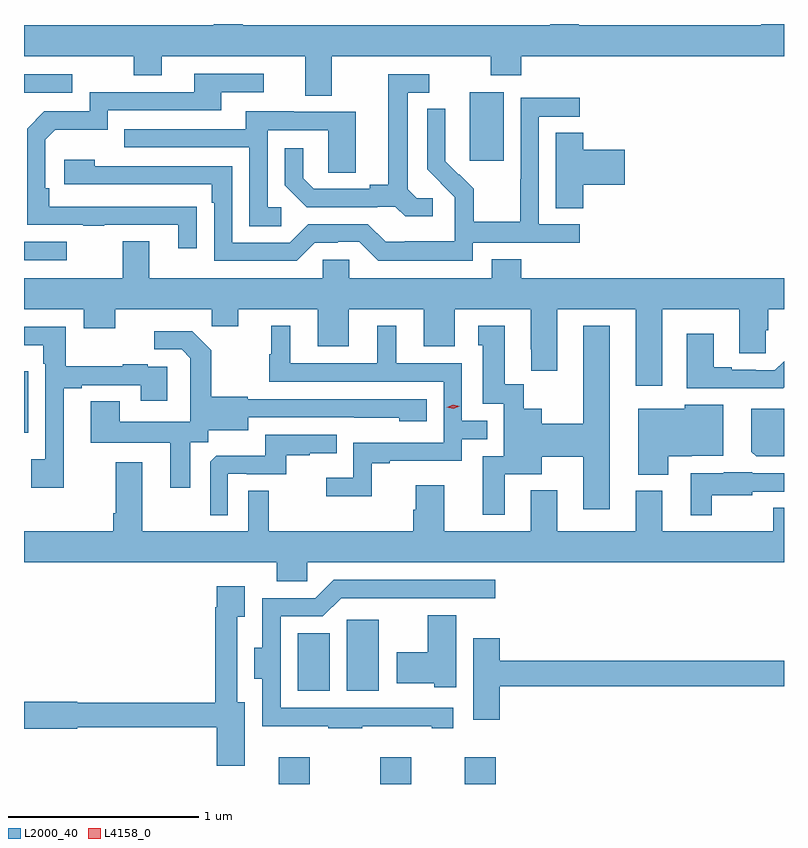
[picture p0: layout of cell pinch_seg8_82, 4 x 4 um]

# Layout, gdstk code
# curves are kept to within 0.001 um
import gdstk
lib = gdstk.Library(unit=1e-6, precision=1e-09)
def R(c, l, rs):  # rectangles x0, y0, x1, y1
    for r in rs: c.add(gdstk.rectangle(r[:2], r[2:], *l))
def P(c, l, *ps):  # polygons
    for p in ps: c.add(gdstk.Polygon(p, *l))
L2000_40 = (2000, 40)
L4158_0 = (4158, 0)

pinch_seg8_82 = lib.new_cell('pinch_seg8_82')
R(pinch_seg8_82, L2000_40, [(1116.275,1106.01,1116.439,1106.152), (1116.809,1106.01,1116.973,1106.152), (1117.253,1106.01,1117.417,1106.152), (1116.374,1106.501,1116.544,1106.803), (1116.632,1106.501,1116.802,1106.874), (1114.934,1107.858,1114.956,1108.183), (1114.934,1108.767,1115.158,1108.863), (1117.28,1109.289,1117.459,1109.65), (1114.934,1109.649,1115.188,1109.745)])
P(pinch_seg8_82, L2000_40, [(1118.934,1110.01),(1118.815,1110.01),(1118.815,1110.004),(1117.855,1110.004),(1117.855,1110.01),(1117.703,1110.01),(1117.703,1110.004),(1116.086,1110.004),(1116.086,1110.01),(1115.933,1110.01),(1115.933,1110.004),(1114.934,1110.004),(1114.934,1109.84),(1115.512,1109.84),(1115.512,1109.741),(1115.659,1109.741),(1115.659,1109.84),(1116.413,1109.84),(1116.413,1109.632),(1116.553,1109.632),(1116.553,1109.84),(1117.39,1109.84),(1117.39,1109.741),(1117.55,1109.741),(1117.55,1109.84),(1118.934,1109.84)],
  [(1115.843,1109.048),(1115.066,1109.049),(1115.066,1109.146),(1115.046,1109.146),(1115.046,1109.4),(1115.099,1109.453),(1115.376,1109.453),(1115.376,1109.556),(1115.971,1109.556),(1115.971,1109.652),(1116.196,1109.652),(1116.196,1109.748),(1115.831,1109.748),(1115.831,1109.652),(1115.28,1109.652),(1115.28,1109.55),(1115.04,1109.55),(1114.95,1109.46),(1114.95,1108.953),(1115.245,1108.953),(1115.245,1108.948),(1115.357,1108.948),(1115.357,1108.953),(1115.747,1108.953),(1115.747,1108.83),(1115.843,1108.83)],
  [(1117.084,1109.094),(1117.002,1109.094),(1116.955,1109.141),(1116.955,1109.649),(1117.066,1109.649),(1117.066,1109.745),(1116.851,1109.745),(1116.851,1109.165),(1116.755,1109.165),(1116.755,1109.142),(1116.46,1109.142),(1116.403,1109.199),(1116.403,1109.356),(1116.306,1109.356),(1116.306,1109.162),(1116.422,1109.046),(1116.794,1109.046),(1116.794,1109.049),(1116.888,1109.049),(1116.94,1108.997),(1117.084,1108.997)],
  [(1117.296,1108.86),(1117.858,1108.86),(1117.858,1108.956),(1117.644,1108.956),(1117.644,1109.523),(1117.858,1109.523),(1117.858,1109.622),(1117.548,1109.622),(1117.548,1109.192),(1117.546,1109.192),(1117.546,1108.969),(1117.301,1108.969),(1117.301,1109.143),(1117.224,1109.22),(1117.221,1109.217),(1117.151,1109.288),(1117.152,1109.564),(1117.056,1109.564),(1117.056,1109.246),(1117.202,1109.098),(1117.202,1109.001),(1117.2,1109.001),(1117.2,1108.867),(1116.937,1108.867),(1116.937,1108.863),(1116.837,1108.863),(1116.744,1108.956),(1116.429,1108.956),(1116.333,1108.86),(1116.03,1108.86),(1116.03,1109.262),(1115.306,1109.262),(1115.306,1109.296),(1115.145,1109.296),(1115.145,1109.166),(1115.921,1109.166),(1115.921,1109.069),(1115.934,1109.069),(1115.934,1108.764),(1116.369,1108.764),(1116.465,1108.86),(1116.584,1108.86),(1116.584,1108.863),(1116.699,1108.863),(1116.799,1108.763),(1117.296,1108.763)],
  [(1116.289,1109.046),(1116.216,1109.046),(1116.216,1109.451),(1116.534,1109.451),(1116.534,1109.227),(1116.679,1109.227),(1116.679,1109.547),(1116.355,1109.547),(1116.355,1109.551),(1116.101,1109.551),(1116.101,1109.457),(1115.461,1109.457),(1115.461,1109.361),(1116.12,1109.361),(1116.12,1108.945),(1116.289,1108.945)],
  [(1117.877,1109.165),(1118.095,1109.165),(1118.095,1109.348),(1117.877,1109.348),(1117.877,1109.438),(1117.733,1109.438),(1117.733,1109.041),(1117.877,1109.041)],
  [(1118.293,1108.508),(1118.699,1108.508),(1118.699,1108.276),(1118.838,1108.276),(1118.838,1108.398),(1118.852,1108.398),(1118.852,1108.508),(1118.934,1108.508),(1118.934,1108.672),(1117.55,1108.672),(1117.55,1108.771),(1117.397,1108.771),(1117.397,1108.672),(1116.645,1108.672),(1116.645,1108.77),(1116.507,1108.77),(1116.507,1108.672),(1115.593,1108.672),(1115.593,1108.867),(1115.453,1108.867),(1115.453,1108.672),(1114.934,1108.672),(1114.934,1108.508),(1115.249,1108.508),(1115.249,1108.409),(1115.413,1108.409),(1115.413,1108.508),(1115.923,1108.508),(1115.923,1108.418),(1116.061,1108.418),(1116.061,1108.508),(1116.479,1108.508),(1116.479,1108.314),(1116.643,1108.314),(1116.643,1108.508),(1117.037,1108.508),(1117.037,1108.314),(1117.201,1108.314),(1117.201,1108.508),(1117.601,1108.508),(1117.601,1108.297),(1117.604,1108.297),(1117.604,1108.185),(1117.741,1108.185),(1117.741,1108.508),(1118.153,1108.508),(1118.153,1108.107),(1118.293,1108.107)],
  [(1117.465,1107.641),(1117.66,1107.641),(1117.66,1107.733),(1117.877,1107.733),(1117.877,1107.456),(1118.017,1107.456),(1118.017,1108.423),(1117.877,1108.423),(1117.877,1107.905),(1117.66,1107.905),(1117.66,1107.985),(1117.563,1107.985),(1117.563,1108.115),(1117.465,1108.115),(1117.465,1108.423),(1117.325,1108.423),(1117.325,1108.32),(1117.349,1108.32),(1117.349,1108.011),(1117.458,1108.011),(1117.458,1107.735),(1117.349,1107.735),(1117.349,1107.426),(1117.465,1107.426)],
  [(1116.765,1107.699),(1116.859,1107.699),(1116.859,1107.711),(1117.239,1107.711),(1117.239,1107.825),(1117.372,1107.825),(1117.372,1107.921),(1117.239,1107.921),(1117.239,1108.224),(1116.892,1108.224),(1116.892,1108.423),(1116.794,1108.423),(1116.794,1108.224),(1116.334,1108.224),(1116.334,1108.423),(1116.236,1108.423),(1116.236,1108.272),(1116.225,1108.272),(1116.225,1108.128),(1117.143,1108.128),(1117.143,1107.807),(1116.666,1107.807),(1116.666,1107.622),(1116.525,1107.622),(1116.525,1107.524),(1116.765,1107.524)],
  [(1115.143,1108.092),(1115.239,1108.092),(1115.239,1108.11),(1115.549,1108.11),(1115.549,1108.026),(1115.689,1108.026),(1115.689,1108.206),(1115.585,1108.206),(1115.585,1108.219),(1115.453,1108.219),(1115.453,1108.208),(1115.155,1108.208),(1115.155,1108.416),(1114.934,1108.416),(1114.934,1108.319),(1115.034,1108.319),(1115.034,1108.223),(1115.046,1108.223),(1115.046,1107.718),(1114.971,1107.718),(1114.971,1107.57),(1115.143,1107.57)],
  [(1115.809,1107.808),(1115.904,1107.808),(1115.904,1107.872),(1116.115,1107.872),(1116.115,1107.939),(1116.909,1107.938),(1116.909,1107.92),(1117.054,1107.92),(1117.054,1108.035),(1116.111,1108.035),(1116.111,1108.048),(1115.919,1108.048),(1115.919,1108.293),(1115.819,1108.393),(1115.619,1108.393),(1115.619,1108.299),(1115.763,1108.299),(1115.81,1108.252),(1115.81,1108.157),(1115.808,1108.157),(1115.808,1107.916),(1115.437,1107.916),(1115.437,1108.025),(1115.285,1108.025),(1115.285,1107.806),(1115.705,1107.806),(1115.705,1107.57),(1115.809,1107.57)],
  [(1118.934,1108.098),(1118.934,1108.236),(1118.886,1108.188),(1118.786,1108.188),(1118.786,1108.191),(1118.659,1108.191),(1118.659,1108.204),(1118.563,1108.204),(1118.563,1108.381),(1118.423,1108.381),(1118.423,1108.094),(1118.93,1108.094)],
  [(1118.326,1107.734),(1118.448,1107.734),(1118.448,1107.737),(1118.614,1107.737),(1118.614,1108.006),(1118.412,1108.006),(1118.412,1107.985),(1118.168,1107.985),(1118.168,1107.638),(1118.326,1107.638)],
  [(1118.934,1107.985),(1118.762,1107.985),(1118.762,1107.76),(1118.788,1107.734),(1118.934,1107.734)],
  [(1116.006,1107.642),(1116.106,1107.642),(1116.106,1107.639),(1116.314,1107.639),(1116.314,1107.741),(1116.437,1107.741),(1116.437,1107.752),(1116.581,1107.752),(1116.581,1107.849),(1116.204,1107.849),(1116.204,1107.737),(1115.945,1107.737),(1115.913,1107.705),(1115.913,1107.425),(1116.006,1107.425)],
  [(1116.426,1107.176),(1118.934,1107.176),(1118.934,1107.464),(1118.878,1107.464),(1118.878,1107.34),(1118.293,1107.34),(1118.293,1107.553),(1118.153,1107.553),(1118.153,1107.34),(1117.741,1107.34),(1117.741,1107.556),(1117.601,1107.556),(1117.601,1107.34),(1117.147,1107.34),(1117.147,1107.583),(1116.995,1107.583),(1116.995,1107.453),(1116.983,1107.453),(1116.983,1107.34),(1116.223,1107.34),(1116.223,1107.554),(1116.114,1107.554),(1116.114,1107.34),(1115.557,1107.34),(1115.557,1107.703),(1115.417,1107.703),(1115.417,1107.436),(1115.405,1107.436),(1115.405,1107.34),(1114.934,1107.34),(1114.934,1107.176),(1116.263,1107.176),(1116.263,1107.078),(1116.426,1107.078)],
  [(1118.554,1107.53),(1118.766,1107.53),(1118.766,1107.549),(1118.934,1107.549),(1118.934,1107.645),(1118.766,1107.645),(1118.766,1107.652),(1118.616,1107.652),(1118.616,1107.646),(1118.444,1107.646),(1118.444,1107.425),(1118.554,1107.425)],
  [(1116.713,1106.315),(1117.079,1106.315),(1117.079,1106.304),(1117.192,1106.304),(1117.192,1106.412),(1116.285,1106.412),(1116.285,1106.892),(1116.507,1106.892),(1116.603,1106.988),(1117.414,1106.988),(1117.414,1107.084),(1116.564,1107.084),(1116.468,1106.988),(1116.188,1106.988),(1116.188,1106.728),(1116.146,1106.728),(1116.146,1106.564),(1116.189,1106.564),(1116.189,1106.315),(1116.535,1106.315),(1116.535,1106.304),(1116.713,1106.304)],
  [(1116.097,1106.44),(1116.057,1106.44),(1116.057,1106.891),(1116.097,1106.891),(1116.097,1107.052),(1115.949,1107.052),(1115.949,1106.939),(1115.941,1106.939),(1115.941,1106.438),(1115.214,1106.438),(1115.214,1106.444),(1114.934,1106.444),(1114.934,1106.302),(1115.214,1106.302),(1115.214,1106.31),(1115.948,1106.31),(1115.948,1106.106),(1116.097,1106.106)],
  [(1117.21,1106.899),(1117.058,1106.899),(1117.058,1106.704),(1116.897,1106.704),(1116.897,1106.54),(1117.092,1106.54),(1117.092,1106.519),(1117.21,1106.519)],
  [(1117.439,1106.524),(1118.934,1106.524),(1118.934,1106.66),(1117.439,1106.66),(1117.439,1106.776),(1117.298,1106.776),(1117.298,1106.349),(1117.439,1106.349)])
P(pinch_seg8_82, L4158_0, [(1117.194,1107.985),(1117.158,1107.992),(1117.158,1107.992),(1117.158,1107.993),(1117.192,1108.005),(1117.227,1107.998),(1117.227,1107.998),(1117.227,1107.997)])

lib.write_gds('pinch_seg8_82.gds')
